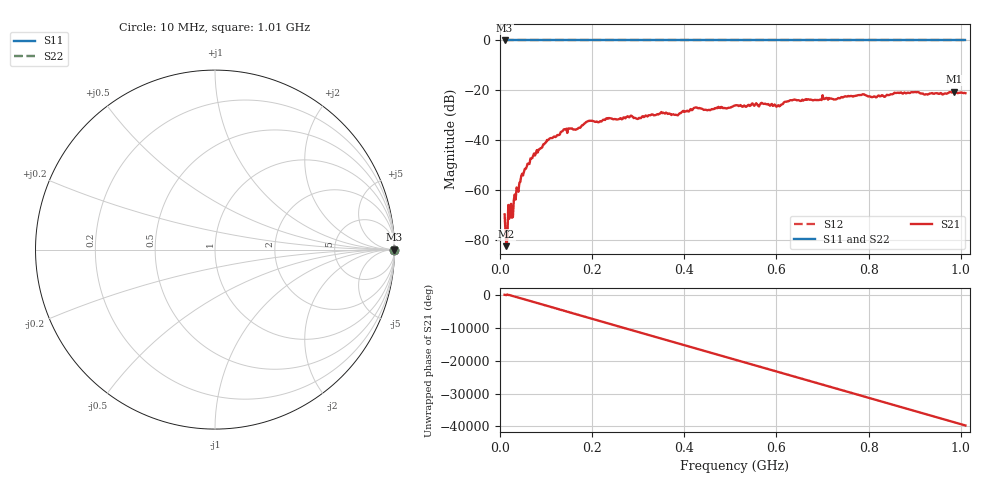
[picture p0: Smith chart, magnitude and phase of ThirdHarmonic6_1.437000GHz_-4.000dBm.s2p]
! 8/16/2025 4:35:41 PM
! C:\ANRITSUVNA\TEMP\TEMP.S2P
! CHANNEL.1
! TR.MEASUREMENT
! RAW.DATA
! RF.CORRECTION.OFF
! AVERAGING.OFF
! IF.BANDWIDTH: 5KHZ
! SWEEPTYPE:  FREQ.SWEEP(Linear)
! Reference Plane Port Info
! PORT:  PORT1  PORT2
! DISTANCE:  0  m  0  m
! TIME:  0  s  0  s
! PHASE.OFFSET:  0  deg.  0  deg.
! LOSS:  0  dB  0  dB
! REF.LOSS:  0  dB  0  dB
! REF.FREQ:  0  Hz  0  Hz
! Power Info
! POWER:  -20  dBm  -20  dBm
! EFF.POWER:  -20  dBm  -20  dBm
! SOURCE.ATTEN:  0  dB  0  dB
! TEST.ATTEN:  0  dB  0  dB
# GHZ S RI R 50.0
! FREQ.GHZ  S11RE  S11IM  S21RE  S21IM  S12RE  S12IM  S22RE  S22IM
!; PortSelection: Port_12
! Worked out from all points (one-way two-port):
!   501 points, 10 MHz to 1.01 GHz, reference 50 ohm
!   highest |S21| = -20.55 dB at 986 MHz (marker M1); lowest = -82.4 dB at 14 MHz (marker M2)
!   lowest |S11| = 0.0 dB at 10 MHz (marker M3)
!   |S11| at or under -10 dB: nowhere
!   |S22| runs from 0.0 to 0.0 dB; largest |S21 - S12| = 1.1
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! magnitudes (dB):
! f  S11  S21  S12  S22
! 10 MHz  0.0  -69.6  0.0  0.0
! 12 MHz  0.0  -76.8  0.0  0.0
! 14 MHz  0.0  -82.4  0.0  0.0
! 16 MHz  0.0  -79.3  0.0  0.0
! 22 MHz  0.0  -66.3  0.0  0.0
! 24 MHz  0.0  -65.4  0.0  0.0
! 30 MHz  0.0  -63.9  0.0  0.0
! 34 MHz  0.0  -63.7  0.0  0.0
! 46 MHz  0.0  -54.4  0.0  0.0
! 70 MHz  0.0  -47.1  0.0  0.0
! 106 MHz  0.0  -39.6  0.0  0.0
! 140 MHz  0.0  -35.5  0.0  0.0
! 178 MHz  0.0  -34.0  0.0  0.0
! 196 MHz  0.0  -32.1  0.0  0.0
! 344 MHz  0.0  -29.6  0.0  0.0
! 510 MHz  0.0  -26.0  0.0  0.0
! 604 MHz  0.0  -25.9  0.0  0.0
! 634 MHz  0.0  -23.9  0.0  0.0
! 678 MHz  0.0  -23.9  0.0  0.0
! 844 MHz  0.0  -21.9  0.0  0.0
! 986 MHz  0.0  -20.5  0.0  0.0
! 1.01 GHz  0.0  -21.1  0.0  0.0
